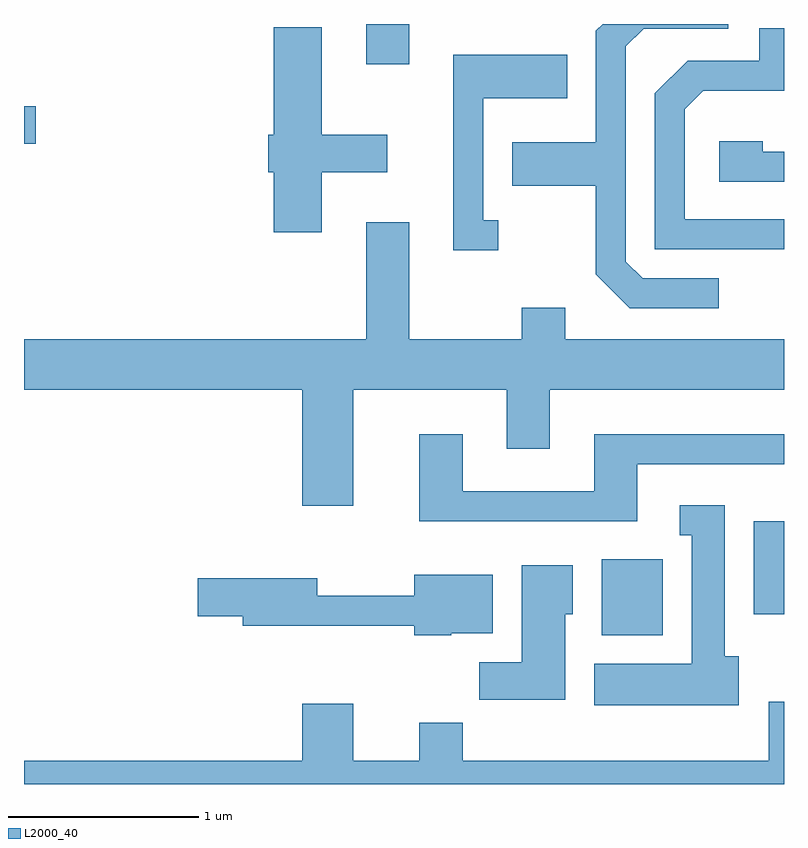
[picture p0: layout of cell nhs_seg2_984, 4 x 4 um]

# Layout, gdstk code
import gdstk
lib = gdstk.Library(unit=1e-6, precision=1e-09)
def R(c, l, rs):  # rectangles x0, y0, x1, y1
    for r in rs: c.add(gdstk.rectangle(r[:2], r[2:], *l))
def P(c, l, *ps):  # polygons
    for p in ps: c.add(gdstk.Polygon(p, *l))
L2000_40 = (2000, 40)

nhs_seg2_984 = lib.new_cell('nhs_seg2_984')
R(nhs_seg2_984, L2000_40, [(216.651,1042.586,216.974,1042.984), (217.451,1042.696,217.611,1043.184), (213.611,1045.171,213.674,1045.369), (215.411,1045.591,215.639,1045.802)])
P(nhs_seg2_984, L2000_40, [(217.268,1044.464),(216.867,1044.464),(216.779,1044.552),(216.779,1045.684),(216.872,1045.776),(217.318,1045.776),(217.318,1045.802),(216.656,1045.802),(216.621,1045.767),(216.621,1045.179),(216.181,1045.179),(216.181,1044.951),(216.621,1044.951),(216.621,1044.484),(216.799,1044.306),(217.268,1044.306)],
  [(215.179,1045.021),(215.524,1045.021),(215.524,1045.219),(215.179,1045.219),(215.179,1045.784),(214.926,1045.784),(214.926,1045.219),(214.896,1045.219),(214.896,1045.021),(214.926,1045.021),(214.926,1044.706),(215.179,1044.706)],
  [(217.611,1044.774),(217.089,1044.774),(217.089,1045.353),(217.187,1045.451),(217.611,1045.451),(217.611,1045.779),(217.481,1045.779),(217.481,1045.609),(217.104,1045.609),(216.931,1045.437),(216.931,1044.616),(217.611,1044.616)],
  [(216.108,1044.769),(216.029,1044.769),(216.029,1045.411),(216.469,1045.411),(216.469,1045.639),(215.871,1045.639),(215.871,1044.611),(216.108,1044.611)],
  [(217.611,1045.129),(217.499,1045.129),(217.499,1045.184),(217.271,1045.184),(217.271,1044.971),(217.611,1044.971)],
  [(215.344,1043.876),(216.151,1043.876),(216.151,1043.566),(216.379,1043.566),(216.379,1043.876),(217.611,1043.876),(217.611,1044.144),(216.459,1044.144),(216.459,1044.309),(216.231,1044.309),(216.231,1044.144),(215.639,1044.144),(215.639,1044.759),(215.411,1044.759),(215.411,1044.144),(213.611,1044.144),(213.611,1043.876),(215.076,1043.876),(215.076,1043.266),(215.344,1043.266)],
  [(216.839,1043.486),(217.611,1043.486),(217.611,1043.644),(216.611,1043.644),(216.611,1043.344),(215.919,1043.344),(215.919,1043.644),(215.691,1043.644),(215.691,1043.186),(216.839,1043.186)],
  [(217.374,1042.474),(217.299,1042.474),(217.299,1043.269),(217.063,1043.269),(217.063,1043.111),(217.126,1043.111),(217.126,1042.434),(216.611,1042.434),(216.611,1042.216),(217.374,1042.216)],
  [(216.459,1042.696),(216.499,1042.696),(216.499,1042.954),(216.231,1042.954),(216.231,1042.444),(216.006,1042.444),(216.006,1042.246),(216.459,1042.246)],
  [(215.86,1042.596),(216.079,1042.596),(216.079,1042.904),(215.666,1042.904),(215.666,1042.794),(215.154,1042.794),(215.154,1042.884),(214.526,1042.884),(214.526,1042.686),(214.761,1042.686),(214.761,1042.636),(215.666,1042.636),(215.666,1042.586),(215.86,1042.586)],
  [(215.076,1042.224),(215.076,1041.924),(213.611,1041.924),(213.611,1041.802),(217.611,1041.802),(217.611,1042.234),(217.531,1042.234),(217.531,1041.924),(215.919,1041.924),(215.919,1042.124),(215.691,1042.124),(215.691,1041.924),(215.344,1041.924),(215.344,1042.224)])

lib.write_gds('nhs_seg2_984.gds')
